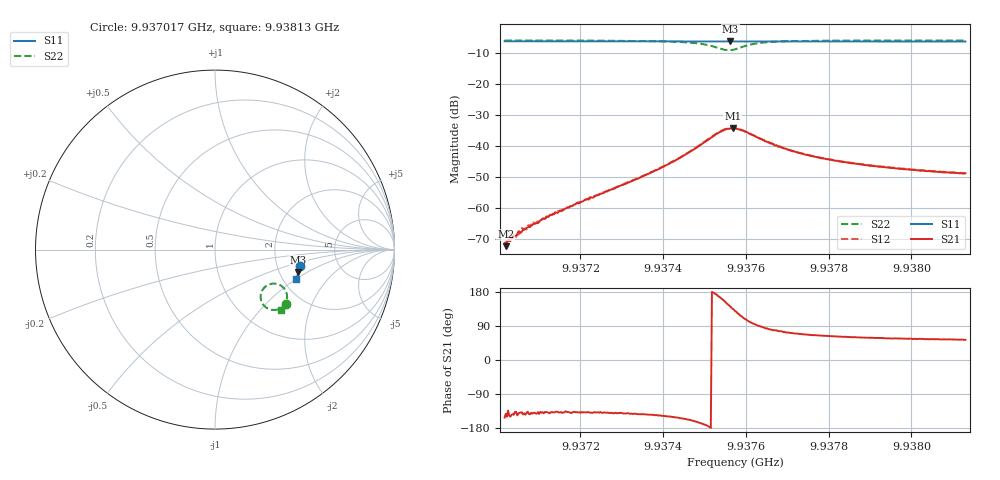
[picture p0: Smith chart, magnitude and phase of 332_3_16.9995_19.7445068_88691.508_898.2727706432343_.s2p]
#  HZ  S  RI  R  50.00
! Rohde & Schwarz Vector Network Analyzer
! Rohde-Schwarz,ZNB20-2Port,1311601062101988,3.16
! Created: UTC 3/20/2024, 11:06:58 PM
! freq[Hz]  re:S11  im:S11  re:S21  im:S21  re:S12  im:S12  re:S22  im:S22
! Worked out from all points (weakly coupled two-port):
!   401 points, 9.937017 GHz to 9.93813 GHz, reference 50 ohm
!   highest |S21| = -34.39 dB at 9.937568 GHz (marker M1); lowest = -72.5 dB at 9.93702 GHz (marker M2)
!   lowest |S11| = -6.4 dB at 9.937562 GHz (marker M3), VSWR 2.85, Z = 127 - j41 ohm
!   |S11| at or under -10 dB: nowhere
!   |S22| runs from -9.2 to -6.0 dB; largest |S21 - S12| = 0.00088
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9.9370168e9  0.4763 -0.0892  -0.000232 -0.000123  -0.000209 -0.000166  0.3981 -0.3009
9.9370195e9  0.4762 -0.0895  -0.000188 -0.000146  -0.000231 -0.000151  0.3979 -0.3013
9.9370251e9  0.4762 -0.0898  -0.000207 -0.00022  -0.00025 -0.000145  0.3975 -0.3016
9.9370307e9  0.4761 -0.0902  -0.000247 -0.000145  -0.000237 -0.000191  0.3971 -0.3019
9.9370502e9  0.4759 -0.0916  -0.000322 -0.000261  -0.00027 -0.000249  0.3957 -0.3034
9.9370613e9  0.4755 -0.0924  -0.000356 -0.000263  -0.00035 -0.000295  0.3949 -0.3041
9.9371058e9  0.4746 -0.0953  -0.000475 -0.000413  -0.000461 -0.000439  0.3915 -0.3077
9.9372033e9  0.4729 -0.1019  -0.000911 -0.000843  -0.000948 -0.000838  0.3832 -0.315
9.9373898e9  0.4691 -0.1145  -0.00349 -0.00231  -0.00358 -0.00231  0.3517 -0.3329
9.9374427e9  0.4677 -0.1181  -0.00581 -0.00289  -0.00593 -0.00284  0.33 -0.3363
9.9374984e9  0.4659 -0.1217  -0.011 -0.00199  -0.0113 -0.00179  0.2869 -0.324
9.9375318e9  0.4647 -0.1237  -0.0155 0.00282  -0.0159 0.00334  0.2563 -0.28
9.9375624e9  0.4637 -0.1244  -0.0147 0.012  -0.0144 0.0125  0.2771 -0.2094
9.937568e9  0.4637 -0.1247  -0.0135 0.0134  -0.0133 0.0142  0.2889 -0.2003
9.9375735e9  0.4638 -0.125  -0.0119 0.0146  -0.0118 0.0152  0.302 -0.1939
9.9375986e9  0.4638 -0.1261  -0.00522 0.0161  -0.00475 0.0162  0.3575 -0.1954
9.937632e9  0.464 -0.1285  9.26e-05 0.0131  0.000393 0.0131  0.3925 -0.2276
9.937696e9  0.4629 -0.1332  0.00265 0.00854  0.00274 0.00847  0.4017 -0.2711
9.93776e9  0.4614 -0.1376  0.00276 0.00617  0.00289 0.00617  0.3966 -0.2925
9.9378436e9  0.4593 -0.1431  0.00261 0.00467  0.0027 0.00464  0.3891 -0.308
9.9379466e9  0.4569 -0.1499  0.00237 0.0037  0.00246 0.00372  0.3805 -0.3203
9.9381303e9  0.4522 -0.1617  0.00213 0.00287  0.00219 0.00286  0.3679 -0.3352
